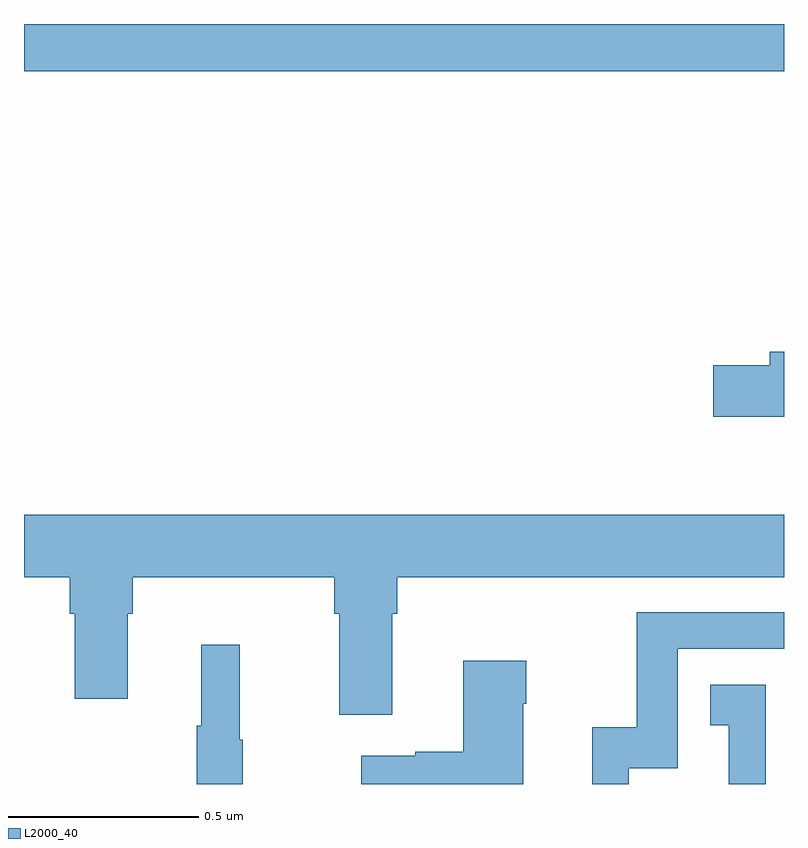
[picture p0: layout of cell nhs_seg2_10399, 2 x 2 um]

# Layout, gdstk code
import gdstk
lib = gdstk.Library(unit=1e-6, precision=1e-09)
def R(c, l, rs):  # rectangles x0, y0, x1, y1
    for r in rs: c.add(gdstk.rectangle(r[:2], r[2:], *l))
def P(c, l, *ps):  # polygons
    for p in ps: c.add(gdstk.Polygon(p, *l))
L2000_40 = (2000, 40)

nhs_seg2_10399 = lib.new_cell('nhs_seg2_10399')
R(nhs_seg2_10399, L2000_40, [(241,607.676,243,607.8)])
P(nhs_seg2_10399, L2000_40, [(243,606.938),(242.963,606.938),(242.963,606.902),(242.814,606.902),(242.814,606.767),(243,606.767)],
  [(241.969,606.248),(241.982,606.248),(241.982,606.344),(243,606.344),(243,606.508),(241,606.508),(241,606.344),(241.121,606.344),(241.121,606.248),(241.133,606.248),(241.133,606.024),(241.273,606.024),(241.273,606.248),(241.286,606.248),(241.286,606.344),(241.817,606.344),(241.817,606.248),(241.829,606.248),(241.829,605.982),(241.969,605.982)],
  [(242.592,605.841),(242.721,605.841),(242.721,606.156),(243,606.156),(243,606.252),(242.613,606.252),(242.613,605.95),(242.495,605.95),(242.495,605.8),(242.592,605.8)],
  [(241.576,605.916),(241.568,605.916),(241.568,606.166),(241.466,606.166),(241.466,605.953),(241.455,605.953),(241.455,605.8),(241.576,605.8)],
  [(242.314,606.011),(242.322,606.011),(242.322,606.124),(242.156,606.124),(242.156,605.885),(242.03,605.885),(242.03,605.875),(241.887,605.875),(241.887,605.8),(242.314,605.8)],
  [(242.952,606.061),(242.806,606.061),(242.806,605.955),(242.855,605.955),(242.855,605.8),(242.952,605.8)])

lib.write_gds('nhs_seg2_10399.gds')
